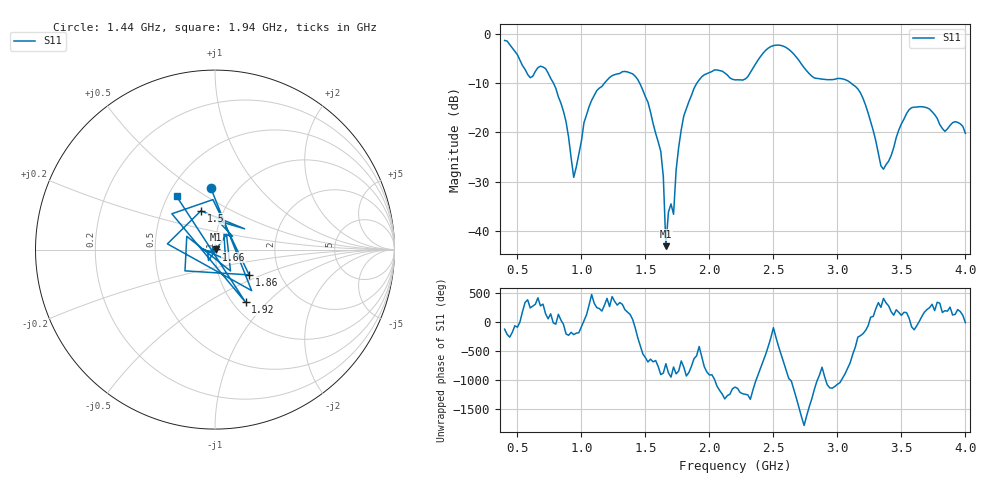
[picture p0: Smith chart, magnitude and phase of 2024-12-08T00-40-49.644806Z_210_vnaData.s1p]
!Created with skrf (http://scikit-rf.org).
# Hz S RI R 50.0
!freq ReS11 ImS11
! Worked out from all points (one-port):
!   181 points, 400 MHz to 4 GHz, reference 50 ohm
!   lowest |S11| = -43.1 dB at 1.66 GHz (marker M1), VSWR 1.01, Z = 50.7 + j0.0678 ohm
!   |S11| at or under -10 dB: 781 MHz to 1.181 GHz (400 MHz wide, 40.8 % of centre); 1.454 GHz to 1.903 GHz (448.5 MHz wide, 26.7 % of centre); 3.105 GHz to end of sweep
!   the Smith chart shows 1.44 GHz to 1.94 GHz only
!   S11 on the Smith chart (normalised r, x): 1.44 GHz: 0.76, +0.59; 1.5 GHz: 0.78, +0.36; 1.66 GHz: 1.01, +0.00; 1.86 GHz: 1.40, -0.42; 1.92 GHz: 1.14, -0.76; 1.94 GHz: 0.56, +0.38
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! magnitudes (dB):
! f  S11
! 400 MHz  -1.4
! 600 MHz  -8.9
! 720 MHz  -7.1
! 860 MHz  -15.8
! 940 MHz  -29.1
! 1.08 GHz  -13.5
! 1.3 GHz  -8.1
! 1.44 GHz  -9.3
! 1.5 GHz  -12.8
! 1.62 GHz  -23.9
! 1.64 GHz  -29.0
! 1.66 GHz  -43.1
! 1.68 GHz  -36.2
! 1.72 GHz  -36.6
! 1.74 GHz  -27.7
! 1.76 GHz  -23.0
! 1.86 GHz  -12.5
! 1.92 GHz  -9.4
! 1.94 GHz  -8.8
! 2.2 GHz  -9.4
! 2.48 GHz  -2.6
! 2.66 GHz  -4.2
! 2.82 GHz  -9.0
! 3.1 GHz  -9.9
! 3.2 GHz  -13.1
! 3.36 GHz  -27.5
! 3.56 GHz  -15.4
! 4 GHz  -20.2
